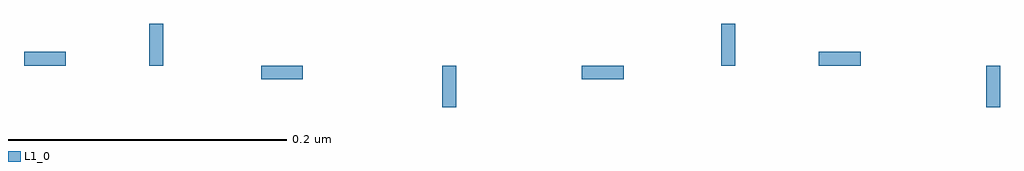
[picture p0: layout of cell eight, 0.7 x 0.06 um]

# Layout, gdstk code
from math import pi, radians
import gdstk
lib = gdstk.Library(unit=1e-6, precision=1e-09)
def R(c, l, rs):  # rectangles x0, y0, x1, y1
    for r in rs: c.add(gdstk.rectangle(r[:2], r[2:], *l))
L1_0 = (1, 0)

c_u = lib.new_cell('u')
R(c_u, L1_0, [(0,0,0.03,0.01)])

eight = lib.new_cell('eight')
eight.add(gdstk.Reference(c_u, (0,0)))
eight.add(gdstk.Reference(c_u, (0.1,0), rotation=pi/2))
eight.add(gdstk.Reference(c_u, (0.2,0), rotation=pi))
eight.add(gdstk.Reference(c_u, (0.3,0), rotation=3*pi/2))
eight.add(gdstk.Reference(c_u, (0.4,0), x_reflection=True))
eight.add(gdstk.Reference(c_u, (0.5,0), rotation=pi/2, x_reflection=True))
eight.add(gdstk.Reference(c_u, (0.6,0), rotation=pi, x_reflection=True))
eight.add(gdstk.Reference(c_u, (0.7,0), rotation=3*pi/2, x_reflection=True))

lib.write_gds('eight.gds')
